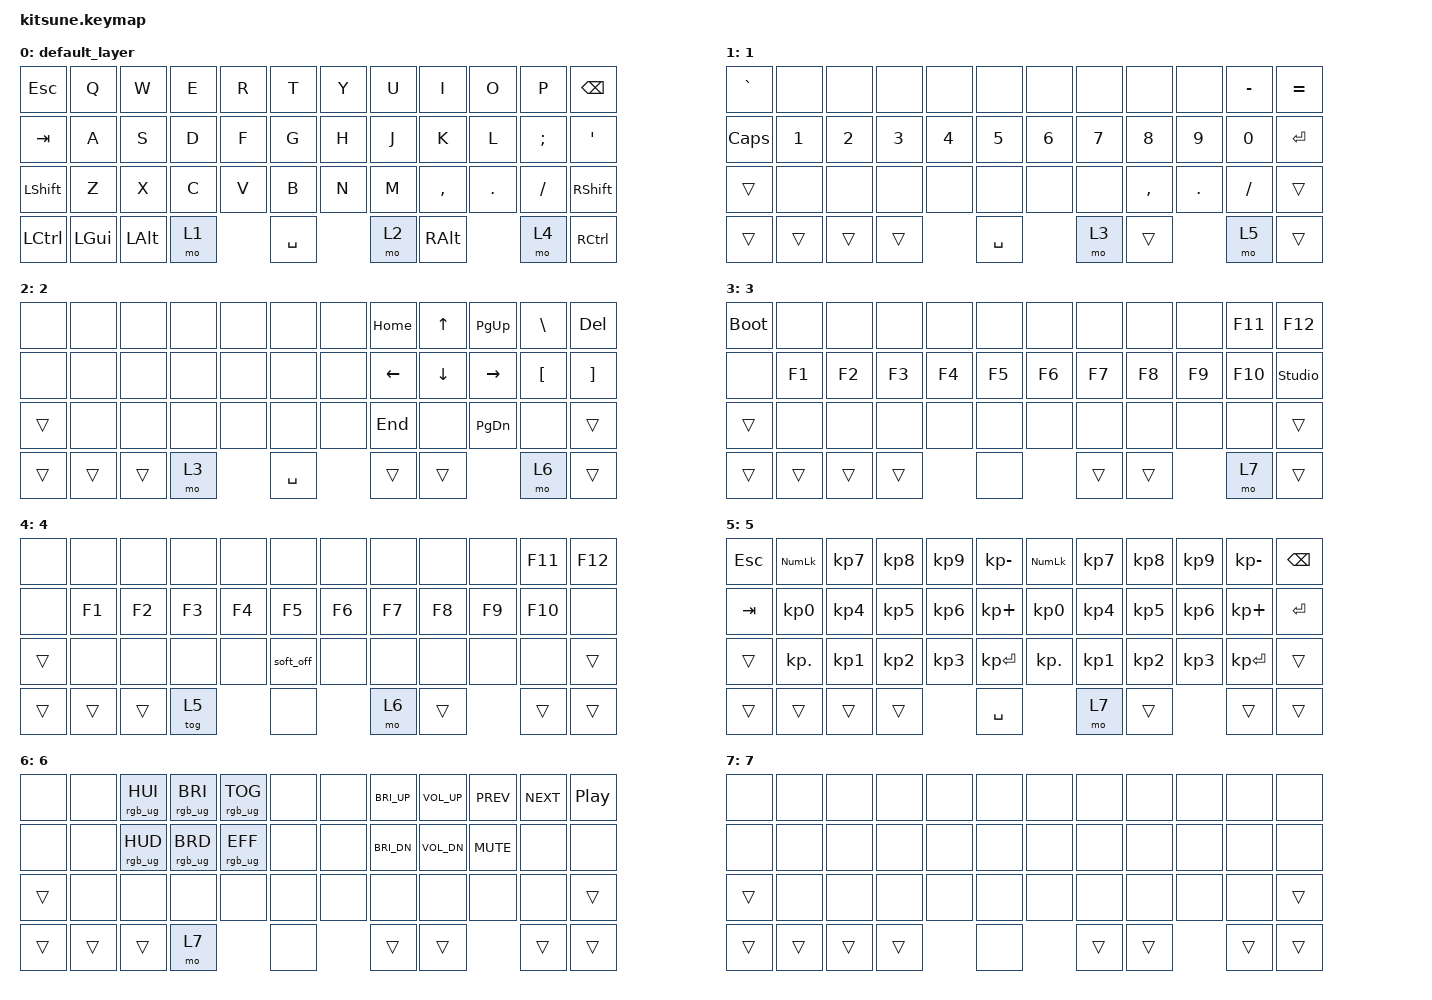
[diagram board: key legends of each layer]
#include <behaviors.dtsi>
#include <dt-bindings/zmk/keys.h>
#include <dt-bindings/zmk/rgb.h>

&soft_off {
    hold-time-ms = <3000>; // Only turn off it the key is held for 3 seconds or longer.
};

/ {
    keymap {
        compatible = "zmk,keymap";

        default_layer {
            bindings = <
                &kp ESC   &kp Q    &kp W    &kp E &kp R &kp T     &kp Y &kp U &kp I     &kp O   &kp P     &kp BSPC
                &kp TAB   &kp A    &kp S    &kp D &kp F &kp G     &kp H &kp J &kp K     &kp L   &kp SEMI  &kp SQT
                &kp LSHFT &kp Z    &kp X    &kp C &kp V &kp B     &kp N &kp M &kp COMMA &kp DOT &kp SLASH &kp RSHFT
                &kp LCTRL &kp LGUI &kp LALT &mo 1       &kp SPACE       &mo 2 &kp RALT          &mo 4     &kp RCTRL
            >;
        };

        1 {
            bindings = <
                &kp GRAVE &none  &none  &none  &none  &none     &none  &none  &none     &none   &kp MINUS &kp EQUAL
                &kp CAPS  &kp N1 &kp N2 &kp N3 &kp N4 &kp N5    &kp N6 &kp N7 &kp N8    &kp N9  &kp N0    &kp ENTER
                &trans    &none  &none  &none  &none  &none     &none  &none  &kp COMMA &kp DOT &kp SLASH &trans
                &trans    &trans &trans &trans        &kp SPACE        &mo 3  &trans            &mo 5    &trans
            >;
        };

        2 {
            bindings = <
                &none  &none  &none  &none  &none  &none     &none  &kp HOME &kp UP   &kp PG_UP &kp BSLH &kp DEL
                &none  &none  &none  &none  &none  &none     &none  &kp LEFT &kp DOWN &kp RIGHT &kp LBKT &kp RBKT
                &trans &none  &none  &none  &none  &none     &none  &kp END  &none    &kp PG_DN &none    &trans
                &trans &trans &trans &mo 3         &kp SPACE        &trans   &trans             &mo 6    &trans
            >;
        };

        3 {
            bindings = <
                &bootloader &none  &none  &none  &none  &none  &none  &none  &none  &none  &kp F11 &kp F12
                &none       &kp F1 &kp F2 &kp F3 &kp F4 &kp F5 &kp F6 &kp F7 &kp F8 &kp F9 &kp F10 &studio_unlock
                &trans      &none  &none  &none  &none  &none  &none  &none  &none  &none  &none   &trans
                &trans      &trans &trans &trans        &none         &trans &trans        &mo 7   &trans
            >;
        };

        4 {
            bindings = <
                &none  &none  &none  &none  &none  &none     &none  &none  &none  &none  &kp F11 &kp F12
                &none  &kp F1 &kp F2 &kp F3 &kp F4 &kp F5    &kp F6 &kp F7 &kp F8 &kp F9 &kp F10 &none
                &trans &none  &none  &none  &none  &soft_off &none  &none  &none  &none  &none   &trans
                &trans &trans &trans &tog 5        &none            &mo 6  &trans        &trans  &trans
            >;
        };

        5 {
            bindings = <
                &kp ESC &kp KP_NUM &kp KP_N7 &kp KP_N8 &kp KP_N9 &kp KP_MINUS &kp KP_NUM &kp KP_N7 &kp KP_N8 &kp KP_N9 &kp KP_MINUS &kp BSPC
                &kp TAB &kp KP_N0  &kp KP_N4 &kp KP_N5 &kp KP_N6 &kp KP_PLUS  &kp KP_N0  &kp KP_N4 &kp KP_N5 &kp KP_N6 &kp KP_PLUS  &kp ENTER
                &trans  &kp KP_DOT &kp KP_N1 &kp KP_N2 &kp KP_N3 &kp KP_ENTER &kp KP_DOT &kp KP_N1 &kp KP_N2 &kp KP_N3 &kp KP_ENTER &trans
                &trans  &trans     &trans    &trans              &kp SPACE               &mo 7     &trans              &trans       &trans
            >;
        };

        6 {
            bindings = <
                &none  &none  &rgb_ug RGB_HUI &rgb_ug RGB_BRI &rgb_ug RGB_TOG &none &none &kp C_BRI_UP &kp C_VOL_UP &kp C_PREV &kp C_NEXT &kp C_PP
                &none  &none  &rgb_ug RGB_HUD &rgb_ug RGB_BRD &rgb_ug RGB_EFF &none &none &kp C_BRI_DN &kp C_VOL_DN &kp C_MUTE &none      &none
                &trans &none  &none           &none           &none           &none &none &none        &none        &none      &none      &trans
                &trans &trans &trans          &mo 7                           &none       &trans       &trans                  &trans     &trans
            >;
        };

        7 {
            bindings = <
                &none  &none  &none  &none  &none &none &none &none  &none  &none &none  &none
                &none  &none  &none  &none  &none &none &none &none  &none  &none &none  &none
                &trans &none  &none  &none  &none &none &none &none  &none  &none &none  &trans
                &trans &trans &trans &trans       &none       &trans &trans       &trans &trans
            >;
        };
    };
};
